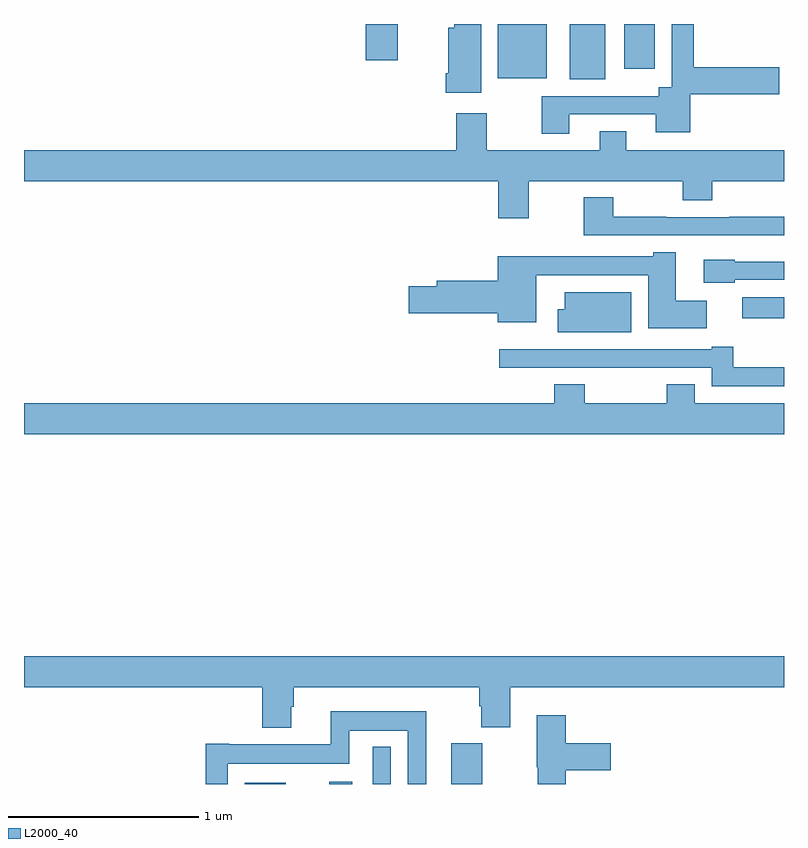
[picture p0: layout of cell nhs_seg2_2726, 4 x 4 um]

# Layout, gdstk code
import gdstk
lib = gdstk.Library(unit=1e-6, precision=1e-09)
def R(c, l, rs):  # rectangles x0, y0, x1, y1
    for r in rs: c.add(gdstk.rectangle(r[:2], r[2:], *l))
def P(c, l, *ps):  # polygons
    for p in ps: c.add(gdstk.Polygon(p, *l))
L2000_40 = (2000, 40)

nhs_seg2_2726 = lib.new_cell('nhs_seg2_2726')
R(nhs_seg2_2726, L2000_40, [(254.162,641.8,254.377,641.806), (254.606,641.8,254.728,641.812), (254.835,641.8,254.931,641.995), (255.248,641.8,255.412,642.015), (256.781,644.252,257,644.361), (255.872,645.509,256.06,645.8), (255.494,645.515,255.751,645.8), (256.16,645.564,256.321,645.8), (254.798,645.609,254.968,645.8)])
P(nhs_seg2_2726, L2000_40, [(255.871,645.324),(256.325,645.324),(256.325,645.23),(256.507,645.23),(256.507,645.43),(256.975,645.43),(256.975,645.572),(256.526,645.572),(256.526,645.8),(256.41,645.8),(256.41,645.466),(256.34,645.466),(256.34,645.42),(255.724,645.42),(255.724,645.222),(255.871,645.222)],
  [(255.406,645.8),(255.265,645.8),(255.265,645.781),(255.233,645.781),(255.233,645.541),(255.221,645.541),(255.221,645.437),(255.406,645.437)],
  [(255.657,644.972),(256.468,644.972),(256.468,644.873),(256.623,644.873),(256.623,644.972),(257,644.972),(257,645.136),(256.171,645.136),(256.171,645.235),(256.031,645.235),(256.031,645.136),(255.435,645.136),(255.435,645.331),(255.275,645.331),(255.275,645.136),(253,645.136),(253,644.972),(255.497,644.972),(255.497,644.778),(255.657,644.778)],
  [(257,644.786),(256.711,644.786),(256.711,644.784),(256.379,644.784),(256.379,644.786),(256.101,644.786),(256.101,644.887),(255.946,644.887),(255.946,644.688),(257,644.688)],
  [(256.594,644.344),(256.429,644.344),(256.429,644.599),(256.311,644.599),(256.311,644.578),(255.494,644.578),(255.494,644.45),(255.173,644.45),(255.173,644.42),(255.024,644.42),(255.024,644.278),(255.494,644.278),(255.494,644.231),(255.697,644.231),(255.697,644.477),(256.286,644.477),(256.286,644.198),(256.594,644.198)],
  [(256.74,644.454),(257,644.454),(257,644.55),(256.74,644.55),(256.74,644.56),(256.578,644.56),(256.578,644.439),(256.74,644.439)],
  [(256.195,644.389),(255.845,644.389),(255.845,644.299),(255.809,644.299),(255.809,644.177),(256.195,644.177)],
  [(257,643.994),(256.733,643.994),(256.733,644.101),(256.619,644.101),(256.619,644.088),(255.713,644.088),(255.713,644.089),(255.501,644.089),(255.501,643.992),(256.039,643.992),(256.039,643.991),(256.295,643.991),(256.295,643.992),(256.619,643.992),(256.619,643.893),(257,643.893)],
  [(257,643.804),(256.531,643.804),(256.531,643.903),(256.384,643.903),(256.384,643.804),(255.951,643.804),(255.951,643.903),(255.791,643.903),(255.791,643.804),(253,643.804),(253,643.64),(257,643.64)],
  [(254.407,642.207),(254.42,642.207),(254.42,642.308),(255.395,642.308),(255.395,642.209),(255.407,642.209),(255.407,642.1),(255.56,642.1),(255.56,642.308),(257,642.308),(257,642.472),(253,642.472),(253,642.308),(254.255,642.308),(254.255,642.095),(254.407,642.095)],
  [(254.073,641.906),(254.712,641.906),(254.712,642.08),(255.021,642.08),(255.021,641.8),(255.118,641.8),(255.118,642.184),(254.615,642.184),(254.615,642.01),(254.08,642.01),(254.08,642.013),(253.957,642.013),(253.957,641.8),(254.073,641.8)],
  [(255.851,641.873),(256.087,641.873),(256.087,642.015),(255.851,642.015),(255.851,642.163),(255.698,642.163),(255.698,641.889),(255.705,641.889),(255.705,641.8),(255.851,641.8)])

lib.write_gds('nhs_seg2_2726.gds')
